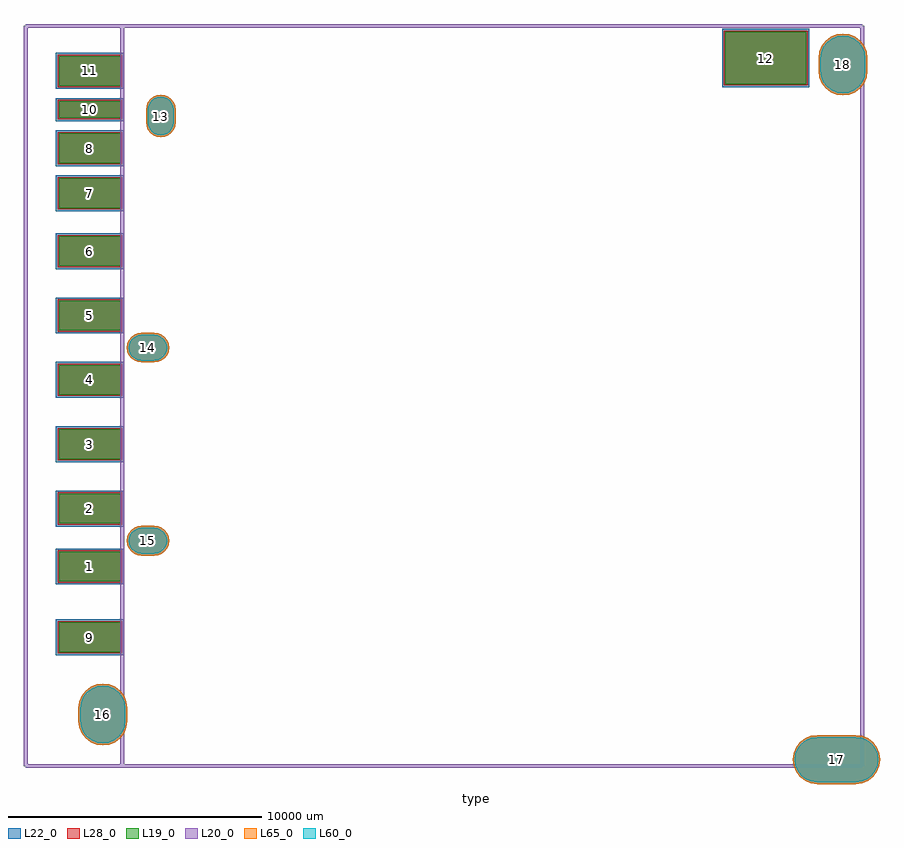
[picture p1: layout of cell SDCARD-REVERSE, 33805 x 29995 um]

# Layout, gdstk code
import gdstk
lib = gdstk.Library(unit=1e-6, precision=1e-09)
def R(c, l, rs):  # rectangles x0, y0, x1, y1
    for r in rs: c.add(gdstk.rectangle(r[:2], r[2:], *l))
def A(c, l, x, y, w, h, nx, ny, dx, dy):  # array of equal rectangles
    R(c, l, [(x+i*dx, y+j*dy, x+i*dx+w, y+j*dy+h) for i in range(nx) for j in range(ny)])
def P(c, l, *ps):  # polygons
    for p in ps: c.add(gdstk.Polygon(p, *l))
L19_0 = (19, 0)
L20_0 = (20, 0)
L22_0 = (22, 0)
L28_0 = (28, 0)
L60_0 = (60, 0)
L65_0 = (65, 0)

sdcard_reverse = lib.new_cell('SDCARD-REVERSE')
A(sdcard_reverse, L19_0, -1220, -585, 2440, 1170, 1, 5, 0, 2540)
R(sdcard_reverse, L19_0, [(-1220,-5665,1220,-4495), (-1220,-2871,1220,-1701), (-1220,11861,1220,13031), (-1220,13639,1220,14809), (-1220,15417,1220,16079), (-1220,16687,1220,17857), (25069,16750.5,28271,18809.5)])
A(sdcard_reverse, L22_0, -1345, -710, 2690, 1420, 1, 5, 0, 2540)
R(sdcard_reverse, L22_0, [(-1345,-5790,1345,-4370), (-1345,-2996,1345,-1576), (-1345,11736,1345,13156), (-1345,13514,1345,14934), (-1345,15292,1345,16204), (-1345,16562,1345,17982), (24944,16625.5,28396,18934.5)])
P(sdcard_reverse, L22_0, [(28702,-10870),(30226,-10870),(30475.502,-10837.152),(30708,-10740.848),(30907.651,-10587.651),(31060.848,-10388),(31157.152,-10155.502),(31190,-9906),(31157.152,-9656.498),(31060.848,-9424),(30907.651,-9224.349),(30708,-9071.152),(30475.502,-8974.848),(30226,-8942),(28702,-8942),(28452.498,-8974.848),(28220,-9071.152),(28020.349,-9224.349),(27867.152,-9424),(27770.848,-9656.498),(27738,-9906),(27770.848,-10155.502),(27867.152,-10388),(28020.349,-10587.651),(28220,-10740.848),(28452.498,-10837.152)],
  [(29718,16308),(29967.502,16340.848),(30200,16437.152),(30399.651,16590.349),(30552.848,16790),(30649.152,17022.498),(30682,17272),(30682,17780),(30649.152,18029.502),(30552.848,18262),(30399.651,18461.651),(30200,18614.848),(29967.502,18711.152),(29718,18744),(29468.498,18711.152),(29236,18614.848),(29036.349,18461.651),(28883.152,18262),(28786.848,18029.502),(28754,17780),(28754,17272),(28786.848,17022.498),(28883.152,16790),(29036.349,16590.349),(29236,16437.152),(29468.498,16340.848)],
  [(2032,5767),(2540,5767),(2690.892,5786.865),(2831.5,5845.107),(2952.243,5937.757),(3044.893,6058.5),(3103.135,6199.108),(3123,6350),(3103.135,6500.892),(3044.893,6641.5),(2952.243,6762.243),(2831.5,6854.893),(2690.892,6913.135),(2540,6933),(2032,6933),(1881.108,6913.135),(1740.5,6854.893),(1619.757,6762.243),(1527.107,6641.5),(1468.865,6500.892),(1449,6350),(1468.865,6199.108),(1527.107,6058.5),(1619.757,5937.757),(1740.5,5845.107),(1881.108,5786.865)],
  [(508,-9346),(757.502,-9313.152),(990,-9216.848),(1189.651,-9063.651),(1342.848,-8864),(1439.152,-8631.502),(1472,-8382),(1472,-7874),(1439.152,-7624.498),(1342.848,-7392),(1189.651,-7192.349),(990,-7039.152),(757.502,-6942.848),(508,-6910),(258.498,-6942.848),(26,-7039.152),(-173.651,-7192.349),(-326.848,-7392),(-423.152,-7624.498),(-456,-7874),(-456,-8382),(-423.152,-8631.502),(-326.848,-8864),(-173.651,-9063.651),(26,-9216.848),(258.498,-9313.152)],
  [(2032,-1853),(2540,-1853),(2690.892,-1833.135),(2831.5,-1774.893),(2952.243,-1682.243),(3044.893,-1561.5),(3103.135,-1420.892),(3123,-1270),(3103.135,-1119.108),(3044.893,-978.5),(2952.243,-857.757),(2831.5,-765.107),(2690.892,-706.865),(2540,-687),(2032,-687),(1881.108,-706.865),(1740.5,-765.107),(1619.757,-857.757),(1527.107,-978.5),(1468.865,-1119.108),(1449,-1270),(1468.865,-1420.892),(1527.107,-1561.5),(1619.757,-1682.243),(1740.5,-1774.893),(1881.108,-1833.135)],
  [(2794,14657),(2944.892,14676.865),(3085.5,14735.107),(3206.243,14827.757),(3298.893,14948.5),(3357.135,15089.108),(3377,15240),(3377,15748),(3357.135,15898.892),(3298.893,16039.5),(3206.243,16160.243),(3085.5,16252.893),(2944.892,16311.135),(2794,16331),(2643.108,16311.135),(2502.5,16252.893),(2381.757,16160.243),(2289.107,16039.5),(2230.865,15898.892),(2211,15748),(2211,15240),(2230.865,15089.108),(2289.107,14948.5),(2381.757,14827.757),(2502.5,14735.107),(2643.108,14676.865)])
A(sdcard_reverse, L28_0, -1270, -635, 2540, 1270, 1, 5, 0, 2540)
R(sdcard_reverse, L28_0, [(-1270,-5715,1270,-4445), (-1270,-2921,1270,-1651), (-1270,11811,1270,13081), (-1270,13589,1270,14859), (-1270,15367,1270,16129), (-1270,16637,1270,17907), (25019,16700.5,28321,18859.5)])
P(sdcard_reverse, L28_0, [(28702,-10795),(30226,-10795),(30456.09,-10764.708),(30670.5,-10675.897),(30854.618,-10534.618),(30995.897,-10350.5),(31084.708,-10136.09),(31115,-9906),(31084.708,-9675.91),(30995.897,-9461.5),(30854.618,-9277.382),(30670.5,-9136.103),(30456.09,-9047.292),(30226,-9017),(28702,-9017),(28471.91,-9047.292),(28257.5,-9136.103),(28073.382,-9277.382),(27932.103,-9461.5),(27843.292,-9675.91),(27813,-9906),(27843.292,-10136.09),(27932.103,-10350.5),(28073.382,-10534.618),(28257.5,-10675.897),(28471.91,-10764.708)],
  [(29718,16383),(29948.09,16413.292),(30162.5,16502.103),(30346.618,16643.382),(30487.897,16827.5),(30576.708,17041.91),(30607,17272),(30607,17780),(30576.708,18010.09),(30487.897,18224.5),(30346.618,18408.618),(30162.5,18549.897),(29948.09,18638.708),(29718,18669),(29487.91,18638.708),(29273.5,18549.897),(29089.382,18408.618),(28948.103,18224.5),(28859.292,18010.09),(28829,17780),(28829,17272),(28859.292,17041.91),(28948.103,16827.5),(29089.382,16643.382),(29273.5,16502.103),(29487.91,16413.292)],
  [(2032,5842),(2540,5842),(2671.48,5859.31),(2794,5910.059),(2899.21,5990.79),(2979.941,6096),(3030.69,6218.52),(3048,6350),(3030.69,6481.48),(2979.941,6604),(2899.21,6709.21),(2794,6789.941),(2671.48,6840.69),(2540,6858),(2032,6858),(1900.52,6840.69),(1778,6789.941),(1672.79,6709.21),(1592.059,6604),(1541.31,6481.48),(1524,6350),(1541.31,6218.52),(1592.059,6096),(1672.79,5990.79),(1778,5910.059),(1900.52,5859.31)],
  [(508,-9271),(738.09,-9240.708),(952.5,-9151.897),(1136.618,-9010.618),(1277.897,-8826.5),(1366.708,-8612.09),(1397,-8382),(1397,-7874),(1366.708,-7643.91),(1277.897,-7429.5),(1136.618,-7245.382),(952.5,-7104.103),(738.09,-7015.292),(508,-6985),(277.91,-7015.292),(63.5,-7104.103),(-120.618,-7245.382),(-261.897,-7429.5),(-350.708,-7643.91),(-381,-7874),(-381,-8382),(-350.708,-8612.09),(-261.897,-8826.5),(-120.618,-9010.618),(63.5,-9151.897),(277.91,-9240.708)],
  [(2032,-1778),(2540,-1778),(2671.48,-1760.69),(2794,-1709.941),(2899.21,-1629.21),(2979.941,-1524),(3030.69,-1401.48),(3048,-1270),(3030.69,-1138.52),(2979.941,-1016),(2899.21,-910.79),(2794,-830.059),(2671.48,-779.31),(2540,-762),(2032,-762),(1900.52,-779.31),(1778,-830.059),(1672.79,-910.79),(1592.059,-1016),(1541.31,-1138.52),(1524,-1270),(1541.31,-1401.48),(1592.059,-1524),(1672.79,-1629.21),(1778,-1709.941),(1900.52,-1760.69)],
  [(2794,14732),(2925.48,14749.31),(3048,14800.059),(3153.21,14880.79),(3233.941,14986),(3284.69,15108.52),(3302,15240),(3302,15748),(3284.69,15879.48),(3233.941,16002),(3153.21,16107.21),(3048,16187.941),(2925.48,16238.69),(2794,16256),(2662.52,16238.69),(2540,16187.941),(2434.79,16107.21),(2354.059,16002),(2303.31,15879.48),(2286,15748),(2286,15240),(2303.31,15108.52),(2354.059,14986),(2434.79,14880.79),(2540,14800.059),(2662.52,14749.31)])
P(sdcard_reverse, L60_0, [(28702,-10795),(30226,-10795),(30456.09,-10764.708),(30670.5,-10675.897),(30854.618,-10534.618),(30995.897,-10350.5),(31084.708,-10136.09),(31115,-9906),(31084.708,-9675.91),(30995.897,-9461.5),(30854.618,-9277.382),(30670.5,-9136.103),(30456.09,-9047.292),(30226,-9017),(28702,-9017),(28471.91,-9047.292),(28257.5,-9136.103),(28073.382,-9277.382),(27932.103,-9461.5),(27843.292,-9675.91),(27813,-9906),(27843.292,-10136.09),(27932.103,-10350.5),(28073.382,-10534.618),(28257.5,-10675.897),(28471.91,-10764.708)],
  [(29718,16383),(29948.09,16413.292),(30162.5,16502.103),(30346.618,16643.382),(30487.897,16827.5),(30576.708,17041.91),(30607,17272),(30607,17780),(30576.708,18010.09),(30487.897,18224.5),(30346.618,18408.618),(30162.5,18549.897),(29948.09,18638.708),(29718,18669),(29487.91,18638.708),(29273.5,18549.897),(29089.382,18408.618),(28948.103,18224.5),(28859.292,18010.09),(28829,17780),(28829,17272),(28859.292,17041.91),(28948.103,16827.5),(29089.382,16643.382),(29273.5,16502.103),(29487.91,16413.292)],
  [(2032,5842),(2540,5842),(2671.48,5859.31),(2794,5910.059),(2899.21,5990.79),(2979.941,6096),(3030.69,6218.52),(3048,6350),(3030.69,6481.48),(2979.941,6604),(2899.21,6709.21),(2794,6789.941),(2671.48,6840.69),(2540,6858),(2032,6858),(1900.52,6840.69),(1778,6789.941),(1672.79,6709.21),(1592.059,6604),(1541.31,6481.48),(1524,6350),(1541.31,6218.52),(1592.059,6096),(1672.79,5990.79),(1778,5910.059),(1900.52,5859.31)],
  [(508,-9271),(738.09,-9240.708),(952.5,-9151.897),(1136.618,-9010.618),(1277.897,-8826.5),(1366.708,-8612.09),(1397,-8382),(1397,-7874),(1366.708,-7643.91),(1277.897,-7429.5),(1136.618,-7245.382),(952.5,-7104.103),(738.09,-7015.292),(508,-6985),(277.91,-7015.292),(63.5,-7104.103),(-120.618,-7245.382),(-261.897,-7429.5),(-350.708,-7643.91),(-381,-7874),(-381,-8382),(-350.708,-8612.09),(-261.897,-8826.5),(-120.618,-9010.618),(63.5,-9151.897),(277.91,-9240.708)],
  [(2032,-1778),(2540,-1778),(2671.48,-1760.69),(2794,-1709.941),(2899.21,-1629.21),(2979.941,-1524),(3030.69,-1401.48),(3048,-1270),(3030.69,-1138.52),(2979.941,-1016),(2899.21,-910.79),(2794,-830.059),(2671.48,-779.31),(2540,-762),(2032,-762),(1900.52,-779.31),(1778,-830.059),(1672.79,-910.79),(1592.059,-1016),(1541.31,-1138.52),(1524,-1270),(1541.31,-1401.48),(1592.059,-1524),(1672.79,-1629.21),(1778,-1709.941),(1900.52,-1760.69)],
  [(2794,14732),(2925.48,14749.31),(3048,14800.059),(3153.21,14880.79),(3233.941,14986),(3284.69,15108.52),(3302,15240),(3302,15748),(3284.69,15879.48),(3233.941,16002),(3153.21,16107.21),(3048,16187.941),(2925.48,16238.69),(2794,16256),(2662.52,16238.69),(2540,16187.941),(2434.79,16107.21),(2354.059,16002),(2303.31,15879.48),(2286,15748),(2286,15240),(2303.31,15108.52),(2354.059,14986),(2434.79,14880.79),(2540,14800.059),(2662.52,14749.31)])
P(sdcard_reverse, L65_0, [(28702,-10870),(30226,-10870),(30475.502,-10837.152),(30708,-10740.848),(30907.651,-10587.651),(31060.848,-10388),(31157.152,-10155.502),(31190,-9906),(31157.152,-9656.498),(31060.848,-9424),(30907.651,-9224.349),(30708,-9071.152),(30475.502,-8974.848),(30226,-8942),(28702,-8942),(28452.498,-8974.848),(28220,-9071.152),(28020.349,-9224.349),(27867.152,-9424),(27770.848,-9656.498),(27738,-9906),(27770.848,-10155.502),(27867.152,-10388),(28020.349,-10587.651),(28220,-10740.848),(28452.498,-10837.152)],
  [(29718,16308),(29967.502,16340.848),(30200,16437.152),(30399.651,16590.349),(30552.848,16790),(30649.152,17022.498),(30682,17272),(30682,17780),(30649.152,18029.502),(30552.848,18262),(30399.651,18461.651),(30200,18614.848),(29967.502,18711.152),(29718,18744),(29468.498,18711.152),(29236,18614.848),(29036.349,18461.651),(28883.152,18262),(28786.848,18029.502),(28754,17780),(28754,17272),(28786.848,17022.498),(28883.152,16790),(29036.349,16590.349),(29236,16437.152),(29468.498,16340.848)],
  [(2032,5767),(2540,5767),(2690.892,5786.865),(2831.5,5845.107),(2952.243,5937.757),(3044.893,6058.5),(3103.135,6199.108),(3123,6350),(3103.135,6500.892),(3044.893,6641.5),(2952.243,6762.243),(2831.5,6854.893),(2690.892,6913.135),(2540,6933),(2032,6933),(1881.108,6913.135),(1740.5,6854.893),(1619.757,6762.243),(1527.107,6641.5),(1468.865,6500.892),(1449,6350),(1468.865,6199.108),(1527.107,6058.5),(1619.757,5937.757),(1740.5,5845.107),(1881.108,5786.865)],
  [(508,-9346),(757.502,-9313.152),(990,-9216.848),(1189.651,-9063.651),(1342.848,-8864),(1439.152,-8631.502),(1472,-8382),(1472,-7874),(1439.152,-7624.498),(1342.848,-7392),(1189.651,-7192.349),(990,-7039.152),(757.502,-6942.848),(508,-6910),(258.498,-6942.848),(26,-7039.152),(-173.651,-7192.349),(-326.848,-7392),(-423.152,-7624.498),(-456,-7874),(-456,-8382),(-423.152,-8631.502),(-326.848,-8864),(-173.651,-9063.651),(26,-9216.848),(258.498,-9313.152)],
  [(2032,-1853),(2540,-1853),(2690.892,-1833.135),(2831.5,-1774.893),(2952.243,-1682.243),(3044.893,-1561.5),(3103.135,-1420.892),(3123,-1270),(3103.135,-1119.108),(3044.893,-978.5),(2952.243,-857.757),(2831.5,-765.107),(2690.892,-706.865),(2540,-687),(2032,-687),(1881.108,-706.865),(1740.5,-765.107),(1619.757,-857.757),(1527.107,-978.5),(1468.865,-1119.108),(1449,-1270),(1468.865,-1420.892),(1527.107,-1561.5),(1619.757,-1682.243),(1740.5,-1774.893),(1881.108,-1833.135)],
  [(2794,14657),(2944.892,14676.865),(3085.5,14735.107),(3206.243,14827.757),(3298.893,14948.5),(3357.135,15089.108),(3377,15240),(3377,15748),(3357.135,15898.892),(3298.893,16039.5),(3206.243,16160.243),(3085.5,16252.893),(2944.892,16311.135),(2794,16331),(2643.108,16311.135),(2502.5,16252.893),(2381.757,16160.243),(2289.107,16039.5),(2230.865,15898.892),(2211,15748),(2211,15240),(2230.865,15089.108),(2289.107,14948.5),(2381.757,14827.757),(2502.5,14735.107),(2643.108,14676.865)])
sdcard_reverse.add(gdstk.FlexPath([(30480,19050),(30480,-10160)], 149.998, ends="flush", simple_path=True, layer=20, datatype=0))  # L20_0
sdcard_reverse.add(gdstk.FlexPath([(30480,-10160),(1270,-10160)], 149.998, ends="flush", simple_path=True, layer=20, datatype=0))  # L20_0
sdcard_reverse.add(gdstk.FlexPath([(1270,19050),(1270,-10160)], 149.998, ends="flush", simple_path=True, layer=20, datatype=0))  # L20_0
sdcard_reverse.add(gdstk.FlexPath([(30480,19050),(1270,19050)], 149.998, ends="flush", simple_path=True, layer=20, datatype=0))  # L20_0
sdcard_reverse.add(gdstk.FlexPath([(-2540,-10160),(1270,-10160)], 149.998, ends="flush", simple_path=True, layer=20, datatype=0))  # L20_0
sdcard_reverse.add(gdstk.FlexPath([(-2540,19050),(-2540,-10160)], 149.998, ends="flush", simple_path=True, layer=20, datatype=0))  # L20_0
sdcard_reverse.add(gdstk.FlexPath([(1270,19050),(-2540,19050)], 149.998, ends="flush", simple_path=True, layer=20, datatype=0))  # L20_0
sdcard_reverse.add(gdstk.Label('12', (26670,17780), layer=28, texttype=0))
sdcard_reverse.add(gdstk.Label('7', (0,12446), layer=28, texttype=0))
sdcard_reverse.add(gdstk.Label('17', (29464,-9906), layer=28, texttype=0))
sdcard_reverse.add(gdstk.Label('18', (29718,17526), layer=28, texttype=0))
sdcard_reverse.add(gdstk.Label('14', (2286,6350), layer=28, texttype=0))
sdcard_reverse.add(gdstk.Label('16', (508,-8128), layer=28, texttype=0))
sdcard_reverse.add(gdstk.Label('15', (2286,-1270), layer=28, texttype=0))
sdcard_reverse.add(gdstk.Label('13', (2794,15494), layer=28, texttype=0))
sdcard_reverse.add(gdstk.Label('11', (0,17272), layer=28, texttype=0))
sdcard_reverse.add(gdstk.Label('8', (0,14224), layer=28, texttype=0))
sdcard_reverse.add(gdstk.Label('10', (0,15748), layer=28, texttype=0))
sdcard_reverse.add(gdstk.Label('6', (0,10160), layer=28, texttype=0))
sdcard_reverse.add(gdstk.Label('5', (0,7620), layer=28, texttype=0))
sdcard_reverse.add(gdstk.Label('4', (0,5080), layer=28, texttype=0))
sdcard_reverse.add(gdstk.Label('3', (0,2540), layer=28, texttype=0))
sdcard_reverse.add(gdstk.Label('2', (0,0), layer=28, texttype=0))
sdcard_reverse.add(gdstk.Label('1', (0,-2286), layer=28, texttype=0))
sdcard_reverse.add(gdstk.Label('9', (0,-5080), layer=28, texttype=0))
sdcard_reverse.add(gdstk.Label('type', (15240,-11430), layer=9, texttype=0))
sdcard_reverse.add(gdstk.Label('devicename', (12700,20320), layer=9, texttype=0))

lib.write_gds('SDCARD-REVERSE.gds')
